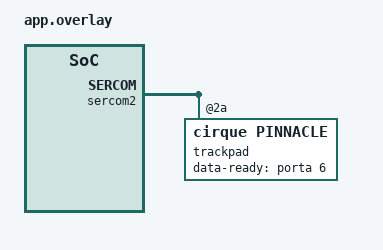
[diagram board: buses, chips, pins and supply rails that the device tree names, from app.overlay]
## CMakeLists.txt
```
cmake_minimum_required(VERSION 3.20.0)
find_package(Zephyr REQUIRED HINTS $ENV{ZEPHYR_BASE})

project(cirque_trackpad)
target_sources(app PRIVATE src/main.c)
```

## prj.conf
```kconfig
CONFIG_LOG=y

# All what is needed to support the trackpad
CONFIG_INPUT=y
```

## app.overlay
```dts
&sercom2 {
	status = "okay";

	// See dts/bindings/input/cirque,pinnacle-common.yaml for the available settings
	trackpad: cirque-trackpad@2a {
		compatible = "cirque,pinnacle";
		status = "okay";
		reg = < 0x2A >; // The trackpad I2C address
		data-ready-gpios = < &porta 6 0 >;
		sensitivity = "2x"; // 4x does not detect anything, 1x is way too sensible
		data-mode = "absolute"; // Return absolute positions to ease debugging
	};
};
```

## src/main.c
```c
#include <zephyr/input/input.h>
#include <zephyr/kernel.h>

static void TrackpadInputCallback(struct input_event *evt, void *user_data)
{
	printk("code=%u, val=%d\n", evt->code, evt->value);
}

INPUT_CALLBACK_DEFINE(DEVICE_DT_GET(DT_NODELABEL(trackpad)), TrackpadInputCallback, NULL);

int main(void)
{
	printk("Starting application.\n");

	k_sleep(K_FOREVER);

	return 0;
}
```
